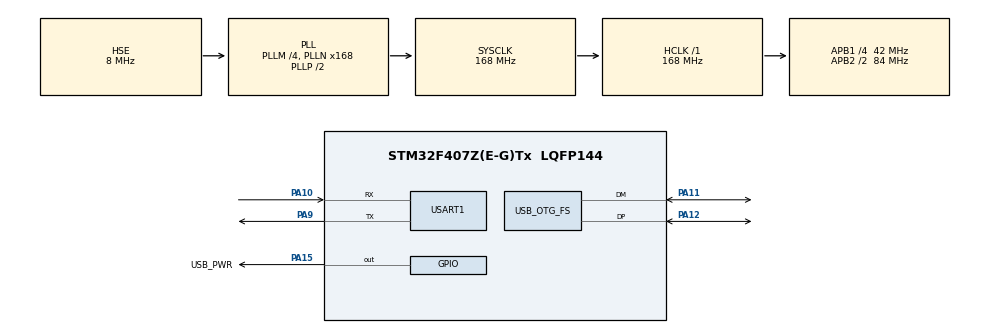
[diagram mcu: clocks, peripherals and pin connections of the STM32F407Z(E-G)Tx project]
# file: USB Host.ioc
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Dma.Request0=USART1_RX
Dma.USART1_RX.0.Direction=DMA_PERIPH_TO_MEMORY
Dma.USART1_RX.0.FIFOMode=DMA_FIFOMODE_DISABLE
Dma.USART1_RX.0.Instance=DMA2_Stream2
Dma.USART1_RX.0.MemDataAlignment=DMA_MDATAALIGN_BYTE
Dma.USART1_RX.0.MemInc=DMA_MINC_ENABLE
Dma.USART1_RX.0.Mode=DMA_NORMAL
Dma.USART1_RX.0.PeriphDataAlignment=DMA_PDATAALIGN_BYTE
Dma.USART1_RX.0.PeriphInc=DMA_PINC_DISABLE
Dma.USART1_RX.0.Priority=DMA_PRIORITY_LOW
FATFS._CODE_PAGE=936
FATFS._USE_LFN=2
Mcu.Family=STM32F4
Mcu.Name=STM32F407Z(E-G)Tx
Mcu.Package=LQFP144
NVIC.DMA2_Stream2_IRQn=true\:0\:0\:false\:false\:true\:false\:true
NVIC.OTG_FS_IRQn=true\:0\:0\:false\:false\:true\:false\:true
NVIC.PriorityGroup=NVIC_PRIORITYGROUP_4
NVIC.USART1_IRQn=true\:0\:0\:false\:false\:true\:true\:true
PA10.Mode=Asynchronous
PA10.Signal=USART1_RX
PA11.Mode=Host_Only
PA11.Signal=USB_OTG_FS_DM
PA12.Mode=Host_Only
PA12.Signal=USB_OTG_FS_DP
PA13.Mode=Trace_Asynchronous_SW
PA13.Signal=SYS_JTMS-SWDIO
PA14.Mode=Trace_Asynchronous_SW
PA14.Signal=SYS_JTCK-SWCLK
PA15.GPIO_Label=USB_PWR
PA15.PinState=GPIO_PIN_SET
PA15.Signal=GPIO_Output
PA9.Mode=Asynchronous
PA9.Signal=USART1_TX
PB3.Mode=Trace_Asynchronous_SW
PB3.Signal=SYS_JTDO-SWO
PH0-OSC_IN.Mode=HSE-External-Oscillator
PH0-OSC_IN.Signal=RCC_OSC_IN
PH1-OSC_OUT.Mode=HSE-External-Oscillator
PH1-OSC_OUT.Signal=RCC_OSC_OUT
ProjectManager.HeapSize=0x200
ProjectManager.StackSize=0x400
ProjectManager.TargetToolchain=STM32CubeIDE
RCC.48MHZClocksFreq_Value=48000000
RCC.AHBFreq_Value=168000000
RCC.APB1CLKDivider=RCC_HCLK_DIV4
RCC.APB1Freq_Value=42000000
RCC.APB1TimFreq_Value=84000000
RCC.APB2CLKDivider=RCC_HCLK_DIV2
RCC.APB2Freq_Value=84000000
RCC.APB2TimFreq_Value=168000000
RCC.CortexFreq_Value=168000000
RCC.HCLKFreq_Value=168000000
RCC.HSE_VALUE=8000000
RCC.HSI_VALUE=16000000
RCC.LSE_VALUE=32768
RCC.PLLM=4
RCC.PLLN=168
RCC.PLLQ=7
RCC.SYSCLKFreq_VALUE=168000000
RCC.SYSCLKSource=RCC_SYSCLKSOURCE_PLLCLK
RCC.VCOOutputFreq_Value=336000000
USART1.VirtualMode=VM_ASYNC
USB_HOST.BSP.number=1
USB_HOST.USBH_HandleTypeDef-MSC_FS=hUsbHostFS
USB_HOST.VirtualModeFS=Msc
USB_HOST0.BSP.STBoard=false
USB_HOST0.BSP.api=Unknown
USB_HOST0.BSP.i2caddr=0
USB_HOST0.BSP.instance=PA15
USB_HOST0.BSP.ip=GPIO
USB_HOST0.BSP.mode=Output
USB_HOST0.BSP.name=Drive_VBUS_FS
USB_HOST0.BSP.solution=PA15
USB_OTG_FS.VirtualMode=Host_Only
USB_OTG_FS.phy_itface=HCD_PHY_EMBEDDED
VP_FATFS_VS_USB.Mode=USB
VP_USB_HOST_VS_USB_HOST_MSC_FS.Mode=MSC_FS
board=custom

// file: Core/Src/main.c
/* USER CODE BEGIN Header */
/**
  ******************************************************************************
  * @file           : main.c
  * @brief          : Main program body
  ******************************************************************************
  * @attention
  *
  * <h2><center>&copy; Copyright (c) 2019 STMicroelectronics.
  * All rights reserved.</center></h2>
  *
  * This software component is licensed by ST under Ultimate Liberty license
  * SLA0044, the "License"; You may not use this file except in compliance with
  * the License. You may obtain a copy of the License at:
  *                             www.st.com/SLA0044
  *
  ******************************************************************************
  */
/* USER CODE END Header */

#include "main.h"
#include "dma.h"
#include "fatfs.h"
#include "usart.h"
#include "usb_host.h"
#include "gpio.h"

void SystemClock_Config(void);
void MX_USB_HOST_Process(void);

/* USER CODE BEGIN 0 */
extern ApplicationTypeDef Appli_state;

FATFS USBDISKFatFs; /* File system object for USB disk logical drive */
char USBH_Path[4] = "./";  /* USBH logical drive path */
FIL MyFile;         /* File object */

static void MSC_Application(void)
{
  FRESULT res; /* FatFs function common result code */
  uint32_t byteswritten; /* File write/read counts */
  uint8_t wtext[] = "The site is STM32cube.com working with FatFs"; /* File write buffer */
//  uint8_t rtext[100]; /* File read buffer */

  /* Register the file system object to the FatFs module */
  if(f_mount(&USBDISKFatFs, (TCHAR const*)USBH_Path, 0) != FR_OK)
  {
	/* FatFs Initialization Error */
	Error_Handler();
  }
  else
  {
	/* Create and Open a new text file object with write access */
	if(f_open(&MyFile, "STM32.TXT", FA_CREATE_ALWAYS | FA_WRITE) != FR_OK)
	{
	  /* 'STM32.TXT' file Open for write Error */
	  Error_Handler();
	}
	else
	{
	  /* Write data to the text file */
	  res = f_write(&MyFile, wtext, sizeof(wtext), (void *)&byteswritten);

	  if((byteswritten == 0) || (res != FR_OK))
	  {
		/* 'STM32.TXT' file Write or EOF Error */
		Error_Handler();
	  }
	  else
	  {
		/* Close the open text file */
		f_close(&MyFile);
	  }
    }
  }
}
/* USER CODE END 0 */

int main(void)
{

  /* MCU Configuration--------------------------------------------------------*/

  /* Reset of all peripherals, Initializes the Flash interface and the Systick. */
  HAL_Init();

  /* Configure the system clock */
  SystemClock_Config();

  /* Initialize all configured peripherals */
  MX_GPIO_Init();
  MX_DMA_Init();
  MX_USART1_UART_Init();
  MX_FATFS_Init();
  MX_USB_HOST_Init();
  /* USER CODE BEGIN 2 */
  HAL_GPIO_WritePin(USB_PWR_GPIO_Port, USB_PWR_Pin, GPIO_PIN_SET);
  /* USER CODE END 2 */

  /* Infinite loop */
  /* USER CODE BEGIN WHILE */

  extern ApplicationTypeDef Appli_state;

  while (1)
  {
    switch(Appli_state)
    {
    case APPLICATION_READY:
      MSC_Application();
      Appli_state = APPLICATION_DISCONNECT;
    break;

    case APPLICATION_DISCONNECT:
      f_mount(NULL, (TCHAR const*)"", 0);
    break;

    default:
    break;
    }

    /* USER CODE END WHILE */
    MX_USB_HOST_Process();

  }
}

void SystemClock_Config(void)
{
  RCC_OscInitTypeDef RCC_OscInitStruct = {0};
  RCC_ClkInitTypeDef RCC_ClkInitStruct = {0};

  /** Configure the main internal regulator output voltage
  */
  __HAL_RCC_PWR_CLK_ENABLE();
  __HAL_PWR_VOLTAGESCALING_CONFIG(PWR_REGULATOR_VOLTAGE_SCALE1);
  /** Initializes the CPU, AHB and APB busses clocks
  */
  RCC_OscInitStruct.OscillatorType = RCC_OSCILLATORTYPE_HSE;
  RCC_OscInitStruct.HSEState = RCC_HSE_ON;
  RCC_OscInitStruct.PLL.PLLState = RCC_PLL_ON;
  RCC_OscInitStruct.PLL.PLLSource = RCC_PLLSOURCE_HSE;
  RCC_OscInitStruct.PLL.PLLM = 4;
  RCC_OscInitStruct.PLL.PLLN = 168;
  RCC_OscInitStruct.PLL.PLLP = RCC_PLLP_DIV2;
  RCC_OscInitStruct.PLL.PLLQ = 7;
  if (HAL_RCC_OscConfig(&RCC_OscInitStruct) != HAL_OK)
  {
    Error_Handler();
  }
  /** Initializes the CPU, AHB and APB busses clocks
  */
  RCC_ClkInitStruct.ClockType = RCC_CLOCKTYPE_HCLK|RCC_CLOCKTYPE_SYSCLK
                              |RCC_CLOCKTYPE_PCLK1|RCC_CLOCKTYPE_PCLK2;
  RCC_ClkInitStruct.SYSCLKSource = RCC_SYSCLKSOURCE_PLLCLK;
  RCC_ClkInitStruct.AHBCLKDivider = RCC_SYSCLK_DIV1;
  RCC_ClkInitStruct.APB1CLKDivider = RCC_HCLK_DIV4;
  RCC_ClkInitStruct.APB2CLKDivider = RCC_HCLK_DIV2;

  if (HAL_RCC_ClockConfig(&RCC_ClkInitStruct, FLASH_LATENCY_5) != HAL_OK)
  {
    Error_Handler();
  }
}

void Error_Handler(void)
{
}

/************************ (C) COPYRIGHT STMicroelectronics *****END OF FILE****/
